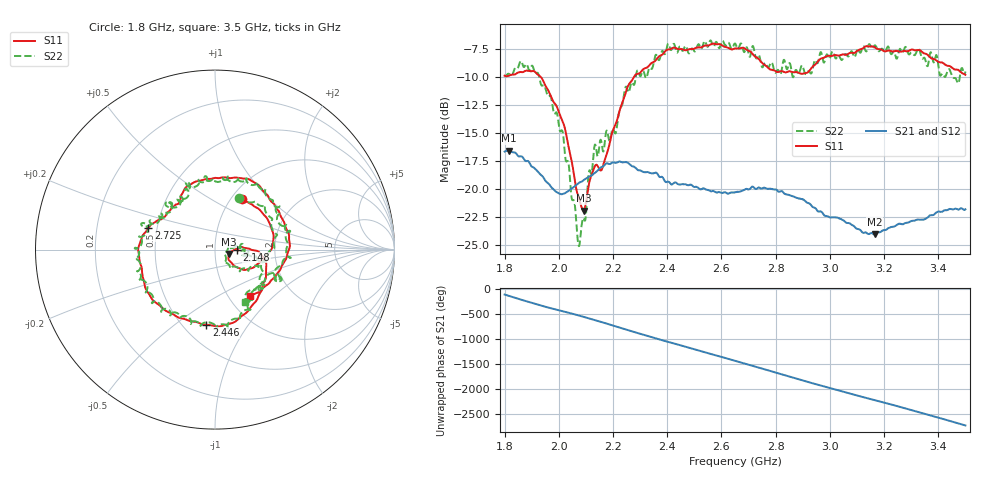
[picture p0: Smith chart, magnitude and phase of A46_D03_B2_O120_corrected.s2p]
! Created with skrf 1.9.0 (http://scikit-rf.org).
# Hz S RI R 50.0
!freq ReS11 ImS11 ReS21 ImS21 ReS12 ImS12 ReS22 ImS22
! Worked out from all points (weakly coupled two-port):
!   1601 points, 1.8 GHz to 3.5 GHz, reference 50 ohm
!   highest |S21| = -16.54 dB at 1.817 GHz (marker M1); lowest = -24.0 dB at 3.165 GHz (marker M2)
!   lowest |S11| = -21.9 dB at 2.091 GHz (marker M3), VSWR 1.17, Z = 58.2 - j2.78 ohm
!   |S11| at or under -10 dB: 1.934 GHz to 2.277 GHz (342.4 MHz wide, 16.3 % of centre)
!   |S22| runs from -25.1 to -6.7 dB; largest |S21 - S12| = 0.0026
!   S11 on the Smith chart (normalised r, x): 1.8 GHz: 1.12, +0.71; 2.148 GHz: 1.28, -0.00; 2.446 GHz: 0.65, -0.66; 2.725 GHz: 0.45, +0.12; 3.5 GHz: 1.25, -0.72
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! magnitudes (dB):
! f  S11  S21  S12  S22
! 1.8 GHz  -9.9  -16.6  -16.6  -9.9
! 1.817 GHz  -9.9  -16.5  -16.6  -9.7
! 1.903 GHz  -9.5  -18.0  -18.0  -9.0
! 1.968 GHz  -11.5  -19.7  -19.7  -11.7
! 2.014 GHz  -13.9  -20.4  -20.4  -14.8
! 2.071 GHz  -20.6  -19.5  -19.5  -24.8
! 2.084 GHz  -21.6  -19.3  -19.3  -23.3
! 2.091 GHz  -21.9  -19.2  -19.2  -22.5
! 2.129 GHz  -18.1  -18.6  -18.6  -16.5
! 2.148 GHz  -18.2  -18.2  -18.2  -16.3
! 2.209 GHz  -14.2  -17.6  -17.6  -15.0
! 2.258 GHz  -10.7  -17.7  -17.7  -11.3
! 2.367 GHz  -8.2  -18.8  -18.7  -8.4
! 2.446 GHz  -7.5  -19.6  -19.6  -7.3
! 2.65 GHz  -7.4  -20.3  -20.2  -7.0
! 2.725 GHz  -8.2  -20.0  -19.9  -8.2
! 2.803 GHz  -9.5  -20.0  -20.1  -9.5
! 2.934 GHz  -9.1  -21.5  -21.5  -9.6
! 3.165 GHz  -7.3  -24.0  -24.0  -7.2
! 3.217 GHz  -7.6  -23.4  -23.4  -7.4
! 3.469 GHz  -9.3  -21.8  -21.7  -10.4
! 3.5 GHz  -9.8  -21.8  -21.8  -9.5
